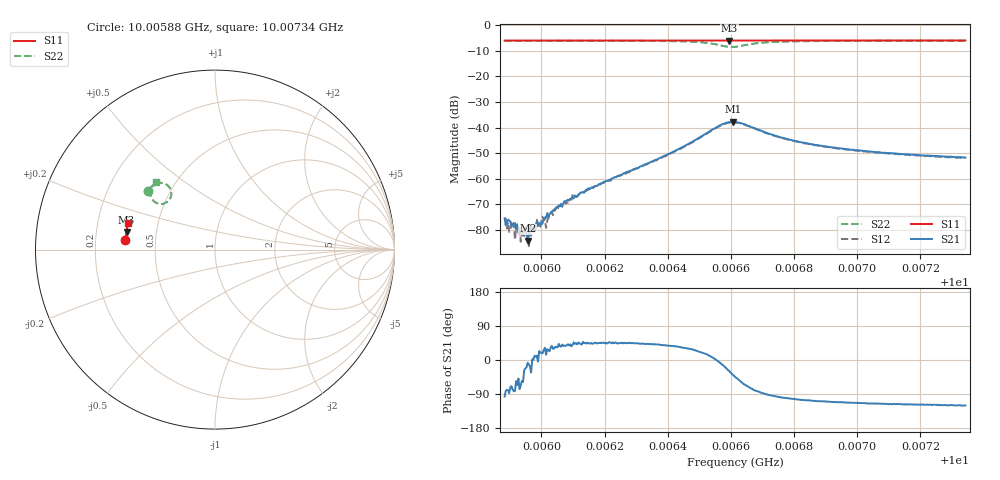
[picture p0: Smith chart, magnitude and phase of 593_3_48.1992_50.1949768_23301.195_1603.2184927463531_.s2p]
#  HZ  S  RI  R  50.00
! Rohde & Schwarz Vector Network Analyzer
! Rohde-Schwarz,ZNB20-2Port,1311601062101988,3.16
! Created: UTC 3/20/2024, 12:02:41 PM
! freq[Hz]  re:S11  im:S11  re:S21  im:S21  re:S12  im:S12  re:S22  im:S22
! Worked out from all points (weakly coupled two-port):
!   401 points, 10.00588 GHz to 10.00734 GHz, reference 50 ohm
!   highest |S21| = -37.69 dB at 10.00661 GHz (marker M1); lowest = -84.1 dB at 10.00596 GHz (marker M2)
!   lowest |S11| = -6.0 dB at 10.00659 GHz (marker M3), VSWR 3.02, Z = 16.7 + j4.42 ohm
!   |S11| at or under -10 dB: nowhere
!   |S22| runs from -8.5 to -6.0 dB; largest |S21 - S12| = 0.00093
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1.0005883e10  -0.4995 0.0535  -1.91e-05 -0.000169  5.61e-05 -0.000163  -0.3739 0.3289
1.0005898e10  -0.4993 0.0543  6.28e-06 -0.000155  1.76e-05 -9.03e-05  -0.373 0.3298
1.0005912e10  -0.4992 0.0553  1.74e-05 -0.000134  5.42e-05 -0.000124  -0.3723 0.3307
1.0005934e10  -0.4991 0.0569  3.69e-05 -8.71e-05  4.78e-05 -3.47e-05  -0.3711 0.3322
1.0005956e10  -0.499 0.0582  6.17e-05 -8.08e-06  9.59e-05 -4.96e-05  -0.3699 0.3335
1.0005974e10  -0.4989 0.0594  9.36e-05 4.65e-07  0.000108 -1.06e-05  -0.3689 0.3347
1.0005996e10  -0.4987 0.0611  0.000126 4.63e-05  0.000106 4.61e-05  -0.3676 0.3362
1.0006004e10  -0.4986 0.0614  0.000131 4.25e-05  0.000173 5.94e-05  -0.3672 0.3365
1.0006015e10  -0.4988 0.062  0.000167 4.18e-05  7.14e-05 8.3e-05  -0.3666 0.3374
1.0006062e10  -0.4985 0.0652  0.000265 0.000189  0.000224 0.000197  -0.3636 0.3406
1.0006084e10  -0.4982 0.0667  0.000294 0.000262  0.000246 0.000239  -0.3622 0.342
1.0006128e10  -0.4979 0.0692  0.000412 0.000354  0.000358 0.000381  -0.3591 0.345
1.0006372e10  -0.4959 0.0853  0.0019 0.00164  0.00179 0.00167  -0.3317 0.3652
1.0006518e10  -0.4939 0.0948  0.00716 0.00218  0.00688 0.00242  -0.275 0.3652
1.0006595e10  -0.4924 0.0989  0.0113 -0.00621  0.0113 -0.00545  -0.2521 0.281
1.0006606e10  -0.4925 0.0994  0.0102 -0.00811  0.0105 -0.00722  -0.2645 0.2671
1.0006613e10  -0.4924 0.0998  0.00937 -0.00899  0.00965 -0.00825  -0.2746 0.2606
1.0006693e10  -0.4924 0.1048  0.0007 -0.00878  0.00109 -0.00862  -0.3526 0.2844
1.0006762e10  -0.4918 0.1095  -0.00102 -0.00628  -0.000681 -0.00623  -0.3601 0.315
1.0006857e10  -0.4908 0.1156  -0.00142 -0.00451  -0.00116 -0.00452  -0.3557 0.3373
1.0007102e10  -0.4874 0.1311  -0.00139 -0.00285  -0.00122 -0.00286  -0.3402 0.3637
1.0007343e10  -0.4836 0.1462  -0.0013 -0.00226  -0.00117 -0.00228  -0.3267 0.3793
